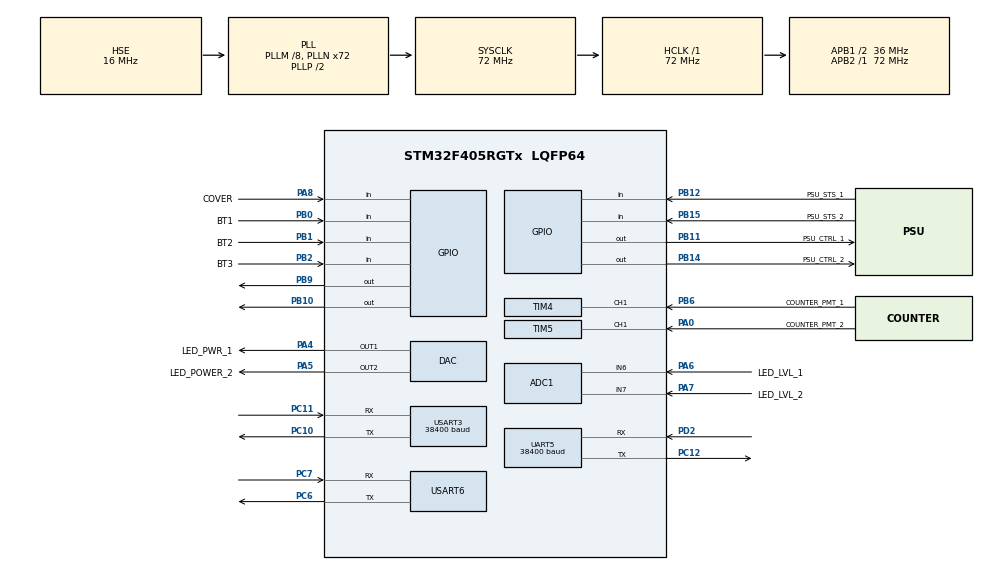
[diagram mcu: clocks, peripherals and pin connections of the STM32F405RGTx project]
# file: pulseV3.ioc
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ADC1.Channel-0\#ChannelRegularConversion=ADC_CHANNEL_6
ADC1.ClockPrescaler=ADC_CLOCK_SYNC_PCLK_DIV8
ADC1.ContinuousConvMode=ENABLE
ADC1.NbrOfConversionFlag=1
ADC1.Rank-0\#ChannelRegularConversion=1
ADC1.SamplingTime-0\#ChannelRegularConversion=ADC_SAMPLETIME_480CYCLES
ADC1.master=1
DAC.DAC_OutputBuffer=DAC_OUTPUTBUFFER_DISABLE
DAC.DAC_OutputBuffer2=DAC_OUTPUTBUFFER_DISABLE
Dma.Request0=USART3_RX
Dma.Request1=UART5_RX
Dma.Request2=USART6_RX
Dma.UART5_RX.1.Direction=DMA_PERIPH_TO_MEMORY
Dma.UART5_RX.1.FIFOMode=DMA_FIFOMODE_DISABLE
Dma.UART5_RX.1.Instance=DMA1_Stream0
Dma.UART5_RX.1.MemDataAlignment=DMA_MDATAALIGN_BYTE
Dma.UART5_RX.1.MemInc=DMA_MINC_ENABLE
Dma.UART5_RX.1.Mode=DMA_CIRCULAR
Dma.UART5_RX.1.PeriphDataAlignment=DMA_PDATAALIGN_BYTE
Dma.UART5_RX.1.PeriphInc=DMA_PINC_DISABLE
Dma.UART5_RX.1.Priority=DMA_PRIORITY_LOW
Dma.USART3_RX.0.Direction=DMA_PERIPH_TO_MEMORY
Dma.USART3_RX.0.FIFOMode=DMA_FIFOMODE_DISABLE
Dma.USART3_RX.0.Instance=DMA1_Stream1
Dma.USART3_RX.0.MemDataAlignment=DMA_MDATAALIGN_BYTE
Dma.USART3_RX.0.MemInc=DMA_MINC_ENABLE
Dma.USART3_RX.0.Mode=DMA_CIRCULAR
Dma.USART3_RX.0.PeriphDataAlignment=DMA_PDATAALIGN_BYTE
Dma.USART3_RX.0.PeriphInc=DMA_PINC_DISABLE
Dma.USART3_RX.0.Priority=DMA_PRIORITY_LOW
Dma.USART6_RX.2.Direction=DMA_PERIPH_TO_MEMORY
Dma.USART6_RX.2.FIFOMode=DMA_FIFOMODE_DISABLE
Dma.USART6_RX.2.Instance=DMA2_Stream2
Dma.USART6_RX.2.MemDataAlignment=DMA_MDATAALIGN_BYTE
Dma.USART6_RX.2.MemInc=DMA_MINC_ENABLE
Dma.USART6_RX.2.Mode=DMA_CIRCULAR
Dma.USART6_RX.2.PeriphDataAlignment=DMA_PDATAALIGN_BYTE
Dma.USART6_RX.2.PeriphInc=DMA_PINC_DISABLE
Dma.USART6_RX.2.Priority=DMA_PRIORITY_LOW
FREERTOS.Tasks01=defaultTask,0,128,StartDefaultTask,Default,NULL,Dynamic,NULL,NULL;RxTask,0,128,RXTaskHandler,Default,NULL,Dynamic,NULL,NULL
FREERTOS.configTICK_RATE_HZ=1000
Mcu.Family=STM32F4
Mcu.Name=STM32F405RGTx
Mcu.Package=LQFP64
NVIC.DMA1_Stream0_IRQn=true\:5\:0\:false\:false\:true\:false\:false\:true
NVIC.DMA1_Stream1_IRQn=true\:5\:0\:false\:false\:true\:false\:false\:true
NVIC.DMA2_Stream2_IRQn=true\:5\:0\:false\:false\:true\:false\:false\:true
NVIC.PriorityGroup=NVIC_PRIORITYGROUP_4
NVIC.TIM1_UP_TIM10_IRQn=true\:0\:0\:false\:false\:true\:false\:false\:true
NVIC.TIM2_IRQn=true\:5\:0\:false\:false\:true\:false\:true\:true
NVIC.TIM4_IRQn=true\:5\:0\:false\:false\:true\:false\:true\:true
NVIC.TIM5_IRQn=true\:5\:0\:false\:false\:true\:false\:true\:true
NVIC.TIM6_DAC_IRQn=true\:5\:0\:false\:false\:true\:false\:false\:true
NVIC.TimeBase=TIM1_UP_TIM10_IRQn
NVIC.TimeBaseIP=TIM10
NVIC.UART5_IRQn=true\:5\:0\:false\:false\:true\:false\:true\:true
NVIC.USART3_IRQn=true\:5\:0\:false\:false\:true\:false\:true\:true
NVIC.USART6_IRQn=true\:5\:0\:false\:false\:true\:false\:true\:true
PA0-WKUP.GPIO_Label=COUNTER_PMT_2
PA0-WKUP.Signal=S_TIM5_CH1
PA13.Mode=JTAG_4_pins
PA13.Signal=SYS_JTMS-SWDIO
PA14.Mode=JTAG_4_pins
PA14.Signal=SYS_JTCK-SWCLK
PA15.Mode=JTAG_4_pins
PA15.Signal=SYS_JTDI
PA4.GPIO_Label=LED_PWR_1
PA4.Signal=COMP_DAC1_group
PA5.GPIO_Label=LED_POWER_2
PA5.Signal=COMP_DAC2_group
PA6.GPIO_Label=LED_LVL_1
PA6.Signal=ADCx_IN6
PA7.GPIO_Label=LED_LVL_2
PA7.Signal=ADCx_IN7
PA8.GPIO_Label=COVER
PA8.Signal=GPIO_Input
PB0.GPIO_Label=BT1
PB0.Signal=GPIO_Input
PB1.GPIO_Label=BT2
PB1.Signal=GPIO_Input
PB10.Signal=GPIO_Output
PB11.GPIO_Label=PSU_CTRL_1
PB11.Signal=GPIO_Output
PB12.GPIO_Label=PSU_STS_1
PB12.Signal=GPIO_Input
PB13.Signal=SPI2_SCK
PB14.GPIO_Label=PSU_CTRL_2
PB14.Signal=GPIO_Output
PB15.GPIO_Label=PSU_STS_2
PB15.Signal=GPIO_Input
PB2.GPIO_Label=BT3
PB2.Signal=GPIO_Input
PB3.Mode=JTAG_4_pins
PB3.Signal=SYS_JTDO-SWO
PB6.GPIO_Label=COUNTER_PMT_1
PB6.Signal=S_TIM4_CH1
PB9.Signal=GPIO_Output
PC10.Mode=Asynchronous
PC10.Signal=USART3_TX
PC11.Mode=Asynchronous
PC11.Signal=USART3_RX
PC12.Mode=Asynchronous
PC12.Signal=UART5_TX
PC14-OSC32_IN.Mode=LSE-External-Oscillator
PC14-OSC32_IN.Signal=RCC_OSC32_IN
PC15-OSC32_OUT.Mode=LSE-External-Oscillator
PC15-OSC32_OUT.Signal=RCC_OSC32_OUT
PC6.Mode=Asynchronous
PC6.Signal=USART6_TX
PC7.Mode=Asynchronous
PC7.Signal=USART6_RX
PD2.Mode=Asynchronous
PD2.Signal=UART5_RX
PH0-OSC_IN.Mode=HSE-External-Oscillator
PH0-OSC_IN.Signal=RCC_OSC_IN
PH1-OSC_OUT.Mode=HSE-External-Oscillator
PH1-OSC_OUT.Signal=RCC_OSC_OUT
ProjectManager.HeapSize=0x200
ProjectManager.StackSize=0x400
ProjectManager.TargetToolchain=STM32CubeIDE
RCC.48MHZClocksFreq_Value=36000000
RCC.AHBFreq_Value=72000000
RCC.APB1CLKDivider=RCC_HCLK_DIV2
RCC.APB1Freq_Value=36000000
RCC.APB1TimFreq_Value=72000000
RCC.APB2Freq_Value=72000000
RCC.APB2TimFreq_Value=72000000
RCC.CortexFreq_Value=72000000
RCC.HCLKFreq_Value=72000000
RCC.HSE_VALUE=16000000
RCC.HSI_VALUE=16000000
RCC.PLLM=8
RCC.PLLN=72
RCC.PLLSourceVirtual=RCC_PLLSOURCE_HSE
RCC.SYSCLKFreq_VALUE=72000000
RCC.SYSCLKSource=RCC_SYSCLKSOURCE_PLLCLK
RCC.VCOOutputFreq_Value=144000000
SH.ADCx_IN6.0=ADC1_IN6,IN6
SH.ADCx_IN7.0=ADC1_IN7,IN7
SH.COMP_DAC1_group.0=DAC_OUT1,DAC_OUT1
SH.COMP_DAC2_group.0=DAC_OUT2,DAC_OUT2
SH.S_TIM4_CH1.0=TIM4_CH1,TriggerSource_TI1FP1
SH.S_TIM5_CH1.0=TIM5_CH1,TriggerSource_TI1FP1
TIM2.Period=10000
TIM2.Prescaler=7200
TIM4.Period=65535
TIM4.Prescaler=0
TIM5.Period=65535
TIM5.Prescaler=0
UART5.BaudRate=38400
UART5.Parity=PARITY_EVEN
UART5.VirtualMode=Asynchronous
UART5.WordLength=WORDLENGTH_9B
USART3.BaudRate=38400
USART3.OverSampling=UART_OVERSAMPLING_16
USART3.Parity=PARITY_EVEN
USART3.VirtualMode=VM_ASYNC
USART3.WordLength=WORDLENGTH_9B
USART6.VirtualMode=VM_ASYNC
VP_FREERTOS_VS_CMSIS_V1.Mode=CMSIS_V1
VP_SYS_VS_tim10.Mode=TIM10
VP_TIM2_VS_ClockSourceINT.Mode=Internal
VP_TIM4_VS_ControllerModeClock.Mode=Clock Mode
VP_TIM5_VS_ControllerModeClock.Mode=Clock Mode
board=custom

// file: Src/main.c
/* USER CODE BEGIN Header */
/**
  ******************************************************************************
  * @file           : main.c
  * @brief          : Main program body
  ******************************************************************************
  * @attention
  *
  * <h2><center>&copy; Copyright (c) 2020 STMicroelectronics.
  * All rights reserved.</center></h2>
  *
  * This software component is licensed by ST under BSD 3-Clause license,
  * the "License"; You may not use this file except in compliance with the
  * License. You may obtain a copy of the License at:
  *                        opensource.org/licenses/BSD-3-Clause
  *
  ******************************************************************************
  */
/* USER CODE END Header */
#include "main.h"
#include "cmsis_os.h"

/* USER CODE BEGIN Includes */
#include "hamamatsu.h"
#include "hamamatsu.c"
#include "comm_protocol.h"
#include "comm_protocol.c"
#include <stdlib.h>
#include <time.h>
#include <string.h>
#include <math.h>
/* USER CODE END Includes */

/* USER CODE BEGIN PD */
#define ITM_Port8(n)    (*((volatile unsigned char *)(0xE0000000+4*n)))
#define ITM_Port16(n)   (*((volatile unsigned short*)(0xE0000000+4*n)))
#define ITM_Port32(n)   (*((volatile unsigned long *)(0xE0000000+4*n)))

#define DEMCR           (*((volatile unsigned long *)(0xE000EDFC)))
#define TRCENA          0x01000000
/* USER CODE END PD */

ADC_HandleTypeDef hadc1;

DAC_HandleTypeDef hdac;

TIM_HandleTypeDef htim2;
TIM_HandleTypeDef htim4;
TIM_HandleTypeDef htim5;

UART_HandleTypeDef huart5;
UART_HandleTypeDef huart3;
UART_HandleTypeDef huart6;
DMA_HandleTypeDef hdma_uart5_rx;
DMA_HandleTypeDef hdma_usart3_rx;
DMA_HandleTypeDef hdma_usart6_rx;

osThreadId defaultTaskHandle;
osThreadId RxTaskHandle;
/* USER CODE BEGIN PV */
uint8_t new_char; 			//UART6 DMA
uint8_t new_char_uart3; //UART3 DMA
uint8_t new_char_uart5; //UART5 DMA

uint8_t uart3_buffer[64]; //buffer hv1
uint8_t uart3_buffer_index;

uint8_t uart5_buffer[64]; //buffer hv2
uint8_t uart5_buffer_index;

command_t command_input;

uint32_t	PMT2_count_vv = 0;
uint32_t	PMT1_count_hh = 0;
uint32_t	PMT2_count_hv = 0;
uint32_t	PMT1_count_vh = 0;

uint32_t lv_h_prom = 0;
uint32_t lv_v_prom = 0;
uint32_t lh_h_prom = 0;
uint32_t lh_v_prom = 0;

float pol;
volatile uint16_t tim4_overflow;
volatile uint16_t tim5_overflow;
volatile bool counting = false;
uint8_t uart_tx_buffer[128];

float led_lvl;

float aux2;
uint16_t conversion;

uint16_t n = 50;	// cantidad de muestas
uint16_t dt = 20; 	//tiempo led on(Ventana)
uint8_t t_off = 10;//tiempo led off

bool record=0;
uint16_t debAux=0;

struct
{
	uint32_t lv_v_zero; //zero para canal V (Exitación V)
	uint32_t lv_h_zero; //zero para canal H (Exitación V)
	uint32_t lh_v_zero; //zero para canal V (Exitación H)
	uint32_t lh_h_zero;	//zero para canal h (Exitación H)
	float rv;
	float rh;
	float rv_rh;
	float pol;
	float g_factor;
	uint16_t led1_power;
	uint16_t led2_power;
	bool measuring;
	uint16_t 	hv1_power;
	uint16_t	hv2_power;
}polarimeter;

struct __FILE { int handle; /* Add whatever you need here */ };
FILE __stdout;
FILE __stdin;

/* USER CODE END PV */

void SystemClock_Config(void);
static void MX_GPIO_Init(void);
static void MX_DMA_Init(void);
static void MX_ADC1_Init(void);
static void MX_DAC_Init(void);
static void MX_TIM4_Init(void);
static void MX_TIM5_Init(void);
static void MX_TIM2_Init(void);
static void MX_UART5_Init(void);
static void MX_USART3_UART_Init(void);
static void MX_USART6_UART_Init(void);
void StartDefaultTask(void const * argument);
void RXTaskHandler(void const * argument);

/* USER CODE BEGIN 0 */

static float calc_polarization(uint32_t lv_count_h, uint32_t lv_count_v,uint32_t lh_count_h, uint32_t lh_count_v)
/**
       * Funcion devuelve el Calculo de la polarizacion.
       * @param rv an float argument.
       * @param rh a float argument.
       * @return The polarization value.
       */
{
	//if (lv_count_h <1 || lh_count_h <1 ) ESPERAR LA OTRA FUENTE
		//{return 0;}
	float rv = (float) lv_count_v/lv_count_h;
	float rh = (float) lh_count_v/lh_count_h;

	//if (rh == 0.0)
		//{return 0;}

	float rv_rh =  rv/rh;

	polarimeter.rv = rv;
	polarimeter.rh = rh;
	polarimeter.rv_rh = rv_rh;
	polarimeter.pol = (rv_rh-1)/(rv_rh+2);

	return (rv_rh-1)/(rv_rh+2);
}

int fputc(int ch, FILE *f) {
  if (DEMCR & TRCENA) {
    while (ITM_Port32(0) == 0);
    ITM_Port8(0) = ch;
  }
  return(ch);
}

float measure(uint16_t n, uint16_t dt, uint16_t t_off)
/**
			 * @description: Funcion que realiza el Conteo de Pulsos
       * @params: n = cantidad de muestras, dt: tiempo de conteo con leds on, toff: tiempos muertos
       */
/************************************************
 *  CONFIGURACIÓN CANALES
		LED 1 (DAC_CHANNEL_1) --> Exitación horizontal
		LED 2 (DAC_CHANNEL_2) --> Exitación vertical
		Canal horizontal: canal1 - htim4
		Canal vertical: canal2 - htim5
 ***********************************************/
{
	uint8_t btnSts= HAL_GPIO_ReadPin(GPIOA, COVER_Pin);
	if(btnSts==0){

		PMT1_count_vh=0;
		PMT1_count_hh=0;
		PMT2_count_hv=0;
		PMT2_count_vv=0;
		lv_h_prom = 0;
		lv_v_prom = 0;
		lh_h_prom = 0;
		lh_v_prom = 0;

		polarimeter.measuring = true;

		if (polarimeter.hv1_power==0 & polarimeter.hv2_power==0){
			hps_sendcmd(&huart3, HBV,(uint8_t*)"7B70", 4); //!Tension en 56V, definida para el pmt1
			hps_sendcmd(&huart5, HBV,(uint8_t*)"7B70", 4); //!Tension en 56V, definida para el pmt2
		}
		for (uint16_t r = 0; r < 5;r++)
		{
			hps_sendcmd(&huart3, HON,NULL, 0); 	// Enciendo pmt1
			HAL_Delay(10);
			hps_sendcmd(&huart5, HON,NULL, 0);	// Enciendo pmt2

		}
		HAL_Delay(1000);
		if(polarimeter.led1_power==0){
			polarimeter.led1_power=4095;
		}
		if(polarimeter.led2_power==0){
				polarimeter.led2_power=4095;
		}

		for (uint16_t i = 0; i < n;i++)
		{
			//!CANAL 1

			//!Mido exitando con led horizontal (DAC 1)
			HAL_DAC_SetValue(&hdac, DAC_CHANNEL_2, DAC_ALIGN_12B_R,0);
			HAL_DAC_SetValue(&hdac, DAC_CHANNEL_1, DAC_ALIGN_12B_R,polarimeter.led1_power);
			//HAL_DAC_SetValue(&hdac, DAC_CHANNEL_1, DAC_ALIGN_12B_R,0);
			osDelay(t_off);
			//Enciendo Contadores
			HAL_TIM_Base_Start_IT(&htim4);
			HAL_TIM_Base_Start_IT(&htim5);
			//!Reinicio contadores y cuento en ventana con duracion dt
			tim4_overflow = 0;
			tim5_overflow = 0;
			__HAL_TIM_SetCounter(&htim4,0);
			__HAL_TIM_SetCounter(&htim5,0);
			osDelay(dt);
			//!Paro los contadores y guardo los valores
			HAL_TIM_Base_Stop_IT(&htim4);
			HAL_TIM_Base_Stop_IT(&htim5);
			PMT1_count_hh = __HAL_TIM_GetCounter(&htim4) + tim4_overflow * 65535;
			PMT2_count_hv = __HAL_TIM_GetCounter(&htim5) + tim5_overflow * 65535;

			if (polarimeter.g_factor > 0)
				PMT2_count_hv *= polarimeter.g_factor; //!corrijo diferencia entre canales

			lh_h_prom += PMT1_count_hh;
			lh_v_prom += PMT2_count_hv;

			//!Canal2

			//! Mido exitando con led vertical (DAC 2)
			HAL_DAC_SetValue(&hdac, DAC_CHANNEL_2, DAC_ALIGN_12B_R,polarimeter.led2_power);
			//HAL_DAC_SetValue(&hdac, DAC_CHANNEL_2, DAC_ALIGN_12B_R,0);
			HAL_DAC_SetValue(&hdac, DAC_CHANNEL_1, DAC_ALIGN_12B_R,0);
			osDelay(t_off);

			//! Enciendo Contadores
			HAL_TIM_Base_Start_IT(&htim4);
			HAL_TIM_Base_Start_IT(&htim5);

			//! Reinicio contadores y cuento en ventana con duracion dt
			tim4_overflow = 0;
			tim5_overflow = 0;
			__HAL_TIM_SetCounter(&htim4,0);
			__HAL_TIM_SetCounter(&htim5,0);
			osDelay(dt);

			//!Paro los contadores y guardo los valores
			HAL_TIM_Base_Stop_IT(&htim4);
			HAL_TIM_Base_Stop_IT(&htim5);
			PMT1_count_vh = __HAL_TIM_GetCounter(&htim4) + tim4_overflow * 65535;
			PMT2_count_vv = __HAL_TIM_GetCounter(&htim5) + tim5_overflow * 65535;

			if (polarimeter.g_factor > 0)
				PMT2_count_vv *= polarimeter.g_factor; //!corrijo diferencia entre canales

			lv_h_prom += PMT1_count_vh;
			lv_v_prom += PMT2_count_vv;

			record=1; //Para DEBUG
			osDelay(100);
			record=0; //Para debug
			debAux++;

		}
		//!Apago Fuentes
		hps_sendcmd(&huart3, HOF,NULL, 0); //!Desactiva salida de tension
		hps_sendcmd(&huart5, HOF,NULL, 0); //!Desactiva salida de tension
		//!Apago Leds
		HAL_DAC_SetValue(&hdac, DAC_CHANNEL_1, DAC_ALIGN_12B_R,0);
		HAL_DAC_SetValue(&hdac, DAC_CHANNEL_2, DAC_ALIGN_12B_R,0);
		//! Calculo promedios

		lv_h_prom /= n;
		lv_v_prom /= n;
		lh_h_prom /= n;
		lh_v_prom /= n;

		/*!Asignacion de Los conteos de Pulos a la estructura Polarimeter
		!*/

			polarimeter.lv_h_zero = lv_h_prom;
			polarimeter.lv_v_zero = lv_v_prom;
			polarimeter.lh_h_zero = lh_h_prom;
			polarimeter.lh_v_zero = lh_v_prom;

		polarimeter.measuring = false;
	}else if(btnSts==1){
		//uint8_t res[14]="$$RCOVER,1\r\n";
		//HAL_UART_Transmit(&huart6,res,sizeof(res),100);
		command_input.name=CMD_NULL;
	}
}

void data(command_t new_cmd)
/**
*@description: Accion a partir del comando recibido
*@description: Todos los comandos son de la siguiente forma: "$(Commando),valor1,valor2,valor3/r/n/n"
*@description: La respuesta si el comando fue recibido es la siguiente: "$(Commando),OK\r\n\n"
*@description: Los comandos que son consulta no poseen respuesta de comando recibido. Envian datos consultados.
*/
/************************************************
 *  CONFIGURACIÓN CANALES
		LED 1 (DAC_CHANNEL_1) --> Exitación horizontal
		LED 2 (DAC_CHANNEL_2) --> Exitación vertical
		Canal horizontal: canal1 - htim4
		Canal vertical: canal2 - htim5
 ***********************************************/
	{	switch ((uint8_t) new_cmd.name)
						{
				case CMD_CONFIG:
							{
								vTaskSuspend(RxTaskHandle);
								//!seteo led 1(horizontal)
								//uint16_t led_lvl = 4095 * new_cmd.params[0] / 100;
								led_lvl = 4095 * new_cmd.params[0] / 100;
								if (led_lvl>4095)
									led_lvl=4095;
								polarimeter.led1_power = led_lvl;
								HAL_DAC_SetValue(&hdac, DAC_CHANNEL_1, DAC_ALIGN_12B_R,led_lvl);

								//!seteo led 2
								led_lvl = 4095 * new_cmd.params[1] / 100;
								if (led_lvl>4095)
									led_lvl=4095;
								polarimeter.led2_power = led_lvl;
								HAL_DAC_SetValue(&hdac, DAC_CHANNEL_2, DAC_ALIGN_12B_R, led_lvl);

								//!Apago Leds
								HAL_DAC_SetValue(&hdac, DAC_CHANNEL_1, DAC_ALIGN_12B_R,0);
								HAL_DAC_SetValue(&hdac, DAC_CHANNEL_2, DAC_ALIGN_12B_R,0);

								/************************************************
							 *  @descriptionSeteo Voltaje de Fuentes
							 ***********************************************/
								//*Fuente 1
								uint8_t aux[4];
								polarimeter.hv1_power=new_cmd.params[2];
								aux2 = polarimeter.hv1_power*0.55187;
								conversion=round(aux2);
								sprintf((char*)aux,"%02X", conversion & 0x0000ffff);
								hps_sendcmd(&huart3, HBV,aux, 4);
								HAL_Delay(100);
								//*Fuente Dos
								polarimeter.hv2_power=new_cmd.params[3];
								aux2 = polarimeter.hv2_power*0.55187;
								conversion=round(aux2);
								sprintf((char*)aux,"%02X", conversion & 0x0000ffff);
								hps_sendcmd(&huart5, HBV,aux, 4);
								HAL_Delay(100);

								//!@description:Respuesta CONFIG Correcto
								uint8_t res[14]="$RCONFIG\r\n";
								HAL_UART_Transmit(&huart6,res,sizeof(res),100);

								command_input.name=CMD_NULL;
								vTaskResume(RxTaskHandle);
								break;
							}
							case READ_POL:
							{/************************************************
							 *  @description:Calculo de mili Polarizacion
							 ***********************************************/
								vTaskSuspend(RxTaskHandle);
								measure(n, dt, t_off);
								pol= calc_polarization(lv_h_prom-new_cmd.params[2],lv_v_prom-new_cmd.params[3],lh_h_prom-new_cmd.params[0],lh_v_prom-new_cmd.params[1]);
								uint8_t len = sprintf((char*)uart_tx_buffer,"$RPOL,%d\r\n",(int)(pol*1000.0));
								sprintf((char*)uart_tx_buffer,"$RPOL,%d\r\n",(int)(pol*1000.0));
								HAL_UART_Transmit(&huart6,(uint8_t*) uart_tx_buffer,len,100);

								command_input.name=CMD_NULL;
								vTaskResume(RxTaskHandle);
							break;
							}
							case READ_ZERO:
							{/************************************************
								*  @description:Calculo de valores para "Calibracion"(Conteo de pulsos sin muestraso patron)
							 ***********************************************/
							vTaskSuspend(RxTaskHandle);
							if (new_cmd.params_number >= 1)
							{
								/*Para debug cometado
								uint16_t n = new_cmd.params[0]; 	// cantidad de muestas
								uint16_t dt = new_cmd.params[1]; 	//tiempo led on
								uint8_t t_off = new_cmd.params[2];//tiempo led off
								*/

								measure(n, dt, t_off);
								command_input.name=CMD_NULL;
								vTaskResume(RxTaskHandle);
							}else
								{
								polarimeter.lh_h_zero = 0;
								polarimeter.lh_v_zero = 0;
								polarimeter.lv_h_zero = 0;
								polarimeter.lv_v_zero = 0;
								}
								uint8_t len = sprintf((char*)uart_tx_buffer,"$RZERO,%d,%d,%d,%d\r\n", polarimeter.lh_h_zero, polarimeter.lh_v_zero,
																								 polarimeter.lv_h_zero, polarimeter.lv_v_zero);

								HAL_UART_Transmit(&huart6,(uint8_t*) uart_tx_buffer,len,100);

								command_input.name=CMD_NULL;
								vTaskResume(RxTaskHandle);
							break;
							}
							case SET_GFACTOR:
							{/************************************************
							 *  Seteo Gfactor
							 ***********************************************/
								vTaskSuspend(RxTaskHandle);
								if (new_cmd.params_number > 0){
									polarimeter.g_factor = (float) new_cmd.params[0]/1000.0;
									uint8_t res[14]="$SGFAC,OK\r\n";
									HAL_UART_Transmit(&huart6,res,sizeof(res),100);
									command_input.name=CMD_NULL;
								}
								vTaskResume(RxTaskHandle);
								break;
							}
							case READ_COVER:
							{/************************************************
							 *  Estado de error(Envio comando de error)
							 *	@description: Respuesta a consulta tapa abierta o cerrada
							 ***********************************************/
								vTaskSuspend(RxTaskHandle);
								uint8_t btnSts= HAL_GPIO_ReadPin(GPIOA, COVER_Pin);
								if(btnSts==0){
									uint8_t word[12]="$RCOVER,0\r\n";
									HAL_UART_Transmit(&huart6,word,sizeof(word),100);
								}else if(btnSts==1){
									uint8_t word[12]="$RCOVER,1\r\n";
									HAL_UART_Transmit(&huart6,word,sizeof(word),100);
								}

								command_input.name=CMD_NULL;
								vTaskResume(RxTaskHandle);
								break;
							}
							case CMD_ERROR:
							{/************************************************
							 *  Estado de error(Envio comando de error)
							 ***********************************************/
								//!@description: Aviso Error a Recepcion de Comando
								vTaskSuspend(RxTaskHandle);
								uint8_t word[21]="$RABORT\r\n";
								HAL_UART_Transmit(&huart6,word,sizeof(word),100);
								command_input.name=CMD_NULL;
								vTaskResume(RxTaskHandle);
								break;
							}
							case CMD_RESET:
							{
								vTaskSuspend(RxTaskHandle);
								NVIC_SystemReset();
								vTaskResume(RxTaskHandle);
								break;
							}
							case CMD_NULL:
							{
							break;
							}
						}
}

void HAL_UART_RxCpltCallback(UART_HandleTypeDef *huart)
{

	if (huart->Instance == huart3.Instance)
	{
		uart3_buffer[uart3_buffer_index] = new_char_uart3;
		if (uart3_buffer_index < sizeof(uart3_buffer) - 1)
			uart3_buffer_index++;
	}
	else if (huart->Instance == huart5.Instance)
	{
		uart5_buffer[uart5_buffer_index] = new_char_uart5;
		if (uart5_buffer_index < sizeof(uart5_buffer) -1)
			uart5_buffer_index++;
	}
	else if (huart->Instance == huart6.Instance)
	{
		if (new_char == COM_CHAR)
		{
			memset(uart_cmd_buff,'\0',sizeof(uart_cmd_buff));
			uart_cmd_buff[0] = new_char;
			uart_cmd_buff_index =0;
		}
		else
		{
			if(uart_cmd_buff_index < UART_CMD_BUFFER_LENGTH)
				uart_cmd_buff_index++;
			else
				uart_cmd_buff_index = 0;

			uart_cmd_buff[uart_cmd_buff_index] = new_char;
		}
	}
	command_input = comm_parse(uart_cmd_buff);
}
/* USER CODE END 0 */

int main(void)
{

  /* MCU Configuration--------------------------------------------------------*/

  /* Reset of all peripherals, Initializes the Flash interface and the Systick. */
  HAL_Init();

  /* Configure the system clock */
  SystemClock_Config();

  /* Initialize all configured peripherals */
  MX_GPIO_Init();
  MX_DMA_Init();
  MX_ADC1_Init();
  MX_DAC_Init();
  MX_TIM4_Init();
  MX_TIM5_Init();
  MX_TIM2_Init();
  MX_UART5_Init();
  MX_USART3_UART_Init();
  MX_USART6_UART_Init();
  /* USER CODE BEGIN 2 */
  __HAL_UART_ENABLE_IT(&huart6,UART_IT_TC);
	HAL_UART_Receive_DMA (&huart6, &new_char, 1);
	HAL_DAC_SetValue(&hdac, DAC_CHANNEL_1, DAC_ALIGN_12B_R, 0);
  HAL_DAC_Start(&hdac, DAC_CHANNEL_1);
  HAL_DAC_SetValue(&hdac, DAC_CHANNEL_2, DAC_ALIGN_12B_R, 0);
  HAL_DAC_Start(&hdac, DAC_CHANNEL_2);
	hps_sendcmd(&huart3, HOF,NULL, 0);
	hps_sendcmd(&huart5, HOF,NULL, 0);

  /* USER CODE END 2 */

  /* Create the thread(s) */
  /* definition and creation of defaultTask */
  osThreadDef(defaultTask, StartDefaultTask, osPriorityNormal, 0, 128);
  defaultTaskHandle = osThreadCreate(osThread(defaultTask), NULL);

  /* definition and creation of RxTask */
  osThreadDef(RxTask, RXTaskHandler, osPriorityNormal, 0, 128);
  RxTaskHandle = osThreadCreate(osThread(RxTask), NULL);

  /* Start scheduler */
  osKernelStart();

  /* We should never get here as control is now taken by the scheduler */
  /* Infinite loop */
  while (1)
  {

  }
}

void SystemClock_Config(void)
{
  RCC_OscInitTypeDef RCC_OscInitStruct = {0};
  RCC_ClkInitTypeDef RCC_ClkInitStruct = {0};

  /** Configure the main internal regulator output voltage
  */
  __HAL_RCC_PWR_CLK_ENABLE();
  __HAL_PWR_VOLTAGESCALING_CONFIG(PWR_REGULATOR_VOLTAGE_SCALE1);
  /** Initializes the RCC Oscillators according to the specified parameters
  * in the RCC_OscInitTypeDef structure.
  */
  RCC_OscInitStruct.OscillatorType = RCC_OSCILLATORTYPE_HSE;
  RCC_OscInitStruct.HSEState = RCC_HSE_ON;
  RCC_OscInitStruct.PLL.PLLState = RCC_PLL_ON;
  RCC_OscInitStruct.PLL.PLLSource = RCC_PLLSOURCE_HSE;
  RCC_OscInitStruct.PLL.PLLM = 8;
  RCC_OscInitStruct.PLL.PLLN = 72;
  RCC_OscInitStruct.PLL.PLLP = RCC_PLLP_DIV2;
  RCC_OscInitStruct.PLL.PLLQ = 4;
  if (HAL_RCC_OscConfig(&RCC_OscInitStruct) != HAL_OK)
  {
    Error_Handler();
  }
  /** Initializes the CPU, AHB and APB buses clocks
  */
  RCC_ClkInitStruct.ClockType = RCC_CLOCKTYPE_HCLK|RCC_CLOCKTYPE_SYSCLK
                              |RCC_CLOCKTYPE_PCLK1|RCC_CLOCKTYPE_PCLK2;
  RCC_ClkInitStruct.SYSCLKSource = RCC_SYSCLKSOURCE_PLLCLK;
  RCC_ClkInitStruct.AHBCLKDivider = RCC_SYSCLK_DIV1;
  RCC_ClkInitStruct.APB1CLKDivider = RCC_HCLK_DIV2;
  RCC_ClkInitStruct.APB2CLKDivider = RCC_HCLK_DIV1;

  if (HAL_RCC_ClockConfig(&RCC_ClkInitStruct, FLASH_LATENCY_2) != HAL_OK)
  {
    Error_Handler();
  }
}

static void MX_ADC1_Init(void)
{

  ADC_ChannelConfTypeDef sConfig = {0};

  /** Configure the global features of the ADC (Clock, Resolution, Data Alignment and number of conversion)
  */
  hadc1.Instance = ADC1;
  hadc1.Init.ClockPrescaler = ADC_CLOCK_SYNC_PCLK_DIV8;
  hadc1.Init.Resolution = ADC_RESOLUTION_12B;
  hadc1.Init.ScanConvMode = DISABLE;
  hadc1.Init.ContinuousConvMode = ENABLE;
  hadc1.Init.DiscontinuousConvMode = DISABLE;
  hadc1.Init.ExternalTrigConvEdge = ADC_EXTERNALTRIGCONVEDGE_NONE;
  hadc1.Init.ExternalTrigConv = ADC_SOFTWARE_START;
  hadc1.Init.DataAlign = ADC_DATAALIGN_RIGHT;
  hadc1.Init.NbrOfConversion = 1;
  hadc1.Init.DMAContinuousRequests = DISABLE;
  hadc1.Init.EOCSelection = ADC_EOC_SINGLE_CONV;
  if (HAL_ADC_Init(&hadc1) != HAL_OK)
  {
    Error_Handler();
  }
  /** Configure for the selected ADC regular channel its corresponding rank in the sequencer and its sample time.
  */
  sConfig.Channel = ADC_CHANNEL_6;
  sConfig.Rank = 1;
  sConfig.SamplingTime = ADC_SAMPLETIME_480CYCLES;
  if (HAL_ADC_ConfigChannel(&hadc1, &sConfig) != HAL_OK)
  {
    Error_Handler();
  }

}

static void MX_DAC_Init(void)
{

  DAC_ChannelConfTypeDef sConfig = {0};

  /** DAC Initialization
  */
  hdac.Instance = DAC;
  if (HAL_DAC_Init(&hdac) != HAL_OK)
  {
    Error_Handler();
  }
  /** DAC channel OUT1 config
  */
  sConfig.DAC_Trigger = DAC_TRIGGER_NONE;
  sConfig.DAC_OutputBuffer = DAC_OUTPUTBUFFER_DISABLE;
  if (HAL_DAC_ConfigChannel(&hdac, &sConfig, DAC_CHANNEL_1) != HAL_OK)
  {
    Error_Handler();
  }
  /** DAC channel OUT2 config
  */
  if (HAL_DAC_ConfigChannel(&hdac, &sConfig, DAC_CHANNEL_2) != HAL_OK)
  {
    Error_Handler();
  }

}

static void MX_TIM2_Init(void)
{

  TIM_ClockConfigTypeDef sClockSourceConfig = {0};
  TIM_MasterConfigTypeDef sMasterConfig = {0};

  htim2.Instance = TIM2;
  htim2.Init.Prescaler = 7200;
  htim2.Init.CounterMode = TIM_COUNTERMODE_UP;
  htim2.Init.Period = 10000;
  htim2.Init.ClockDivision = TIM_CLOCKDIVISION_DIV1;
  htim2.Init.AutoReloadPreload = TIM_AUTORELOAD_PRELOAD_DISABLE;
  if (HAL_TIM_Base_Init(&htim2) != HAL_OK)
  {
    Error_Handler();
  }
  sClockSourceConfig.ClockSource = TIM_CLOCKSOURCE_INTERNAL;
  if (HAL_TIM_ConfigClockSource(&htim2, &sClockSourceConfig) != HAL_OK)
  {
    Error_Handler();
  }
  sMasterConfig.MasterOutputTrigger = TIM_TRGO_RESET;
  sMasterConfig.MasterSlaveMode = TIM_MASTERSLAVEMODE_DISABLE;
  if (HAL_TIMEx_MasterConfigSynchronization(&htim2, &sMasterConfig) != HAL_OK)
  {
    Error_Handler();
  }

}

static void MX_TIM4_Init(void)
{

  TIM_SlaveConfigTypeDef sSlaveConfig = {0};
  TIM_MasterConfigTypeDef sMasterConfig = {0};

  htim4.Instance = TIM4;
  htim4.Init.Prescaler = 0;
  htim4.Init.CounterMode = TIM_COUNTERMODE_UP;
  htim4.Init.Period = 65535;
  htim4.Init.ClockDivision = TIM_CLOCKDIVISION_DIV1;
  htim4.Init.AutoReloadPreload = TIM_AUTORELOAD_PRELOAD_DISABLE;
  if (HAL_TIM_Base_Init(&htim4) != HAL_OK)
  {
    Error_Handler();
  }
  sSlaveConfig.SlaveMode = TIM_SLAVEMODE_EXTERNAL1;
  sSlaveConfig.InputTrigger = TIM_TS_TI1FP1;
  sSlaveConfig.TriggerPolarity = TIM_TRIGGERPOLARITY_RISING;
  sSlaveConfig.TriggerFilter = 0;
  if (HAL_TIM_SlaveConfigSynchro(&htim4, &sSlaveConfig) != HAL_OK)
  {
    Error_Handler();
  }
  sMasterConfig.MasterOutputTrigger = TIM_TRGO_RESET;
  sMasterConfig.MasterSlaveMode = TIM_MASTERSLAVEMODE_DISABLE;
  if (HAL_TIMEx_MasterConfigSynchronization(&htim4, &sMasterConfig) != HAL_OK)
  {
    Error_Handler();
  }

}

static void MX_TIM5_Init(void)
{

  TIM_SlaveConfigTypeDef sSlaveConfig = {0};
  TIM_MasterConfigTypeDef sMasterConfig = {0};

  htim5.Instance = TIM5;
  htim5.Init.Prescaler = 0;
  htim5.Init.CounterMode = TIM_COUNTERMODE_UP;
  htim5.Init.Period = 65535;
  htim5.Init.ClockDivision = TIM_CLOCKDIVISION_DIV1;
  htim5.Init.AutoReloadPreload = TIM_AUTORELOAD_PRELOAD_DISABLE;
  if (HAL_TIM_Base_Init(&htim5) != HAL_OK)
  {
    Error_Handler();
  }
  sSlaveConfig.SlaveMode = TIM_SLAVEMODE_EXTERNAL1;
  sSlaveConfig.InputTrigger = TIM_TS_TI1FP1;
  sSlaveConfig.TriggerPolarity = TIM_TRIGGERPOLARITY_RISING;
  sSlaveConfig.TriggerFilter = 0;
  if (HAL_TIM_SlaveConfigSynchro(&htim5, &sSlaveConfig) != HAL_OK)
  {
    Error_Handler();
  }
  sMasterConfig.MasterOutputTrigger = TIM_TRGO_RESET;
  sMasterConfig.MasterSlaveMode = TIM_MASTERSLAVEMODE_DISABLE;
  if (HAL_TIMEx_MasterConfigSynchronization(&htim5, &sMasterConfig) != HAL_OK)
  {
    Error_Handler();
  }

}

static void MX_UART5_Init(void)
{

  huart5.Instance = UART5;
  huart5.Init.BaudRate = 38400;
  huart5.Init.WordLength = UART_WORDLENGTH_9B;
  huart5.Init.StopBits = UART_STOPBITS_1;
  huart5.Init.Parity = UART_PARITY_EVEN;
  huart5.Init.Mode = UART_MODE_TX_RX;
  huart5.Init.HwFlowCtl = UART_HWCONTROL_NONE;
  huart5.Init.OverSampling = UART_OVERSAMPLING_16;
  if (HAL_UART_Init(&huart5) != HAL_OK)
  {
    Error_Handler();
  }

}

static void MX_USART3_UART_Init(void)
{

  huart3.Instance = USART3;
  huart3.Init.BaudRate = 38400;
  huart3.Init.WordLength = UART_WORDLENGTH_9B;
  huart3.Init.StopBits = UART_STOPBITS_1;
  huart3.Init.Parity = UART_PARITY_EVEN;
  huart3.Init.Mode = UART_MODE_TX_RX;
  huart3.Init.HwFlowCtl = UART_HWCONTROL_NONE;
  huart3.Init.OverSampling = UART_OVERSAMPLING_16;
  if (HAL_UART_Init(&huart3) != HAL_OK)
  {
    Error_Handler();
  }

}

static void MX_USART6_UART_Init(void)
{

  huart6.Instance = USART6;
  huart6.Init.BaudRate = 115200;
  huart6.Init.WordLength = UART_WORDLENGTH_8B;
  huart6.Init.StopBits = UART_STOPBITS_1;
  huart6.Init.Parity = UART_PARITY_NONE;
  huart6.Init.Mode = UART_MODE_TX_RX;
  huart6.Init.HwFlowCtl = UART_HWCONTROL_NONE;
  huart6.Init.OverSampling = UART_OVERSAMPLING_16;
  if (HAL_UART_Init(&huart6) != HAL_OK)
  {
    Error_Handler();
  }

}

static void MX_DMA_Init(void)
{

  /* DMA controller clock enable */
  __HAL_RCC_DMA1_CLK_ENABLE();
  __HAL_RCC_DMA2_CLK_ENABLE();

  /* DMA interrupt init */
  /* DMA1_Stream0_IRQn interrupt configuration */
  HAL_NVIC_SetPriority(DMA1_Stream0_IRQn, 0, 0);
  HAL_NVIC_EnableIRQ(DMA1_Stream0_IRQn);
  /* DMA1_Stream1_IRQn interrupt configuration */
  HAL_NVIC_SetPriority(DMA1_Stream1_IRQn, 0, 0);
  HAL_NVIC_EnableIRQ(DMA1_Stream1_IRQn);
  /* DMA2_Stream2_IRQn interrupt configuration */
  HAL_NVIC_SetPriority(DMA2_Stream2_IRQn, 0, 0);
  HAL_NVIC_EnableIRQ(DMA2_Stream2_IRQn);

}

static void MX_GPIO_Init(void)
{
  GPIO_InitTypeDef GPIO_InitStruct = {0};

  /* GPIO Ports Clock Enable */
  __HAL_RCC_GPIOC_CLK_ENABLE();
  __HAL_RCC_GPIOH_CLK_ENABLE();
  __HAL_RCC_GPIOA_CLK_ENABLE();
  __HAL_RCC_GPIOB_CLK_ENABLE();
  __HAL_RCC_GPIOD_CLK_ENABLE();

  /*Configure GPIO pin Output Level */
  HAL_GPIO_WritePin(GPIOB, GPIO_PIN_10|PSU_CTRL_1_Pin|PSU_CTRL_2_Pin|GPIO_PIN_9, GPIO_PIN_RESET);

  /*Configure GPIO pins : BT1_Pin BT2_Pin BT3_Pin PSU_STS_1_Pin
                           PSU_STS_2_Pin */
  GPIO_InitStruct.Pin = BT1_Pin|BT2_Pin|BT3_Pin|PSU_STS_1_Pin
                          |PSU_STS_2_Pin;
  GPIO_InitStruct.Mode = GPIO_MODE_INPUT;
  GPIO_InitStruct.Pull = GPIO_NOPULL;
  HAL_GPIO_Init(GPIOB, &GPIO_InitStruct);

  /*Configure GPIO pins : PB10 PSU_CTRL_1_Pin PSU_CTRL_2_Pin PB9 */
  GPIO_InitStruct.Pin = GPIO_PIN_10|PSU_CTRL_1_Pin|PSU_CTRL_2_Pin|GPIO_PIN_9;
  GPIO_InitStruct.Mode = GPIO_MODE_OUTPUT_PP;
  GPIO_InitStruct.Pull = GPIO_NOPULL;
  GPIO_InitStruct.Speed = GPIO_SPEED_FREQ_LOW;
  HAL_GPIO_Init(GPIOB, &GPIO_InitStruct);

  /*Configure GPIO pin : PB13 */
  GPIO_InitStruct.Pin = GPIO_PIN_13;
  GPIO_InitStruct.Mode = GPIO_MODE_AF_PP;
  GPIO_InitStruct.Pull = GPIO_NOPULL;
  GPIO_InitStruct.Speed = GPIO_SPEED_FREQ_VERY_HIGH;
  GPIO_InitStruct.Alternate = GPIO_AF5_SPI2;
  HAL_GPIO_Init(GPIOB, &GPIO_InitStruct);

  /*Configure GPIO pin : COVER_Pin */
  GPIO_InitStruct.Pin = COVER_Pin;
  GPIO_InitStruct.Mode = GPIO_MODE_INPUT;
  GPIO_InitStruct.Pull = GPIO_NOPULL;
  HAL_GPIO_Init(COVER_GPIO_Port, &GPIO_InitStruct);

}

void StartDefaultTask(void const * argument)
{
  /* USER CODE BEGIN 5 */

	/* Infinite loop */
  for(;;)
  {
		data(command_input);

  }
  /* USER CODE END 5 */
}

void RXTaskHandler(void const * argument)
{
  /* USER CODE BEGIN RXTaskHandler */
  /* Infinite loop */
  for(;;)
  {
		HAL_UART_Receive_DMA(&huart6,&new_char,1);
  }
  /* USER CODE END RXTaskHandler */
}

void HAL_TIM_PeriodElapsedCallback(TIM_HandleTypeDef *htim)
{
  if (htim->Instance == TIM10) {
    HAL_IncTick();
  }
}

void Error_Handler(void)
{
}

/************************ (C) COPYRIGHT STMicroelectronics *****END OF FILE****/
